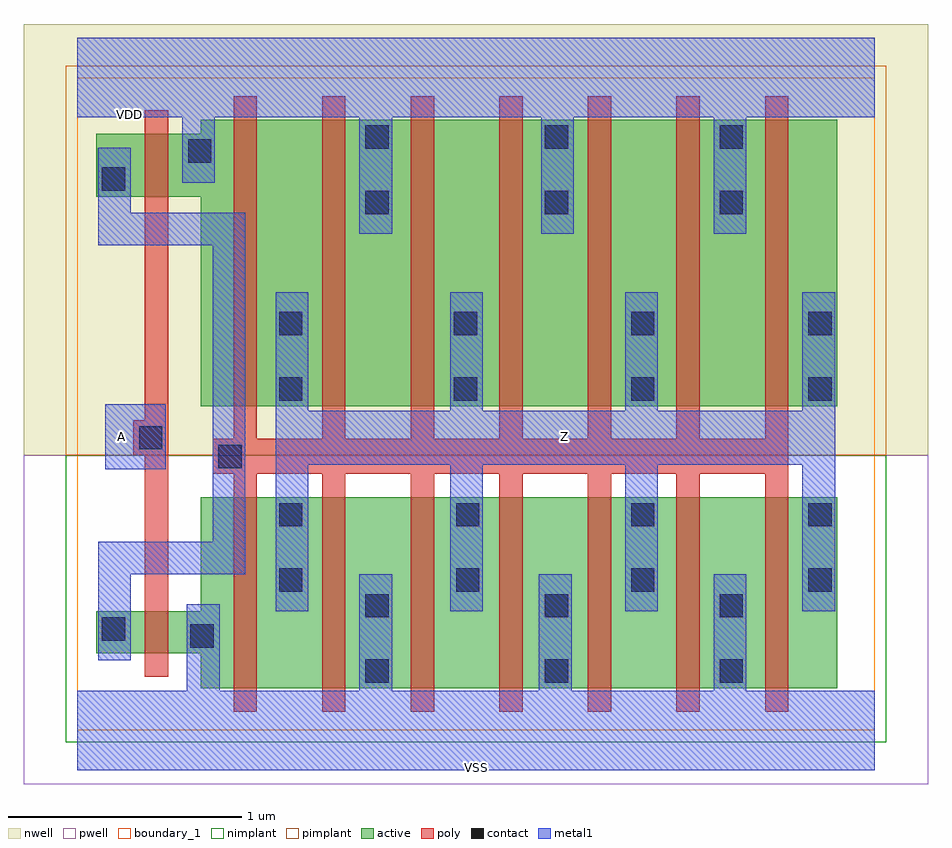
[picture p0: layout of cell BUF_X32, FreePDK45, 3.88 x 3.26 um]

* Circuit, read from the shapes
.subckt BUF_X32 A VDD VSS Z
M1 VSS A n1 VSUBS nfet w=0.18u l=0.1u
M2 Z n1 VSS VSUBS nfet w=0.82u l=0.1u m=7
M3 VDD A n1 n2 pfet w=0.27u l=0.1u
M4 Z n1 VDD n2 pfet w=1.23u l=0.1u m=7
.ends

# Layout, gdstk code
import gdstk
lib = gdstk.Library(unit=1e-6, precision=1e-09)
def R(c, l, rs):  # rectangles x0, y0, x1, y1
    for r in rs: c.add(gdstk.rectangle(r[:2], r[2:], *l))
def A(c, l, x, y, w, h, nx, ny, dx, dy):  # array of equal rectangles
    R(c, l, [(x+i*dx, y+j*dy, x+i*dx+w, y+j*dy+h) for i in range(nx) for j in range(ny)])
def P(c, l, *ps):  # polygons
    for p in ps: c.add(gdstk.Polygon(p, *l))
active = (1, 0)
pwell = (2, 0)
nwell = (3, 0)
nimplant = (4, 0)
pimplant = (5, 0)
poly = (9, 0)
contact = (10, 0)
metal1 = (11, 0)
boundary_1 = (235, 1)

buf_x32 = lib.new_cell('BUF_X32')
P(buf_x32, active, [(0.08,2.29),(0.53,2.29),(0.53,1.39),(3.26,1.39),(3.26,2.62),(0.53,2.62),(0.53,2.56),(0.08,2.56)],
  [(0.08,0.33),(0.53,0.33),(0.53,0.18),(3.26,0.18),(3.26,1),(0.53,1),(0.53,0.51),(0.08,0.51)])
R(buf_x32, pwell, [(-0.23,-0.23,3.65,1.18)])
R(buf_x32, nwell, [(-0.23,1.18,3.65,3.03)])
R(buf_x32, nimplant, [(-0.05,-0.05,3.47,1.18)])
R(buf_x32, pimplant, [(-0.05,1.18,3.47,2.85)])
P(buf_x32, poly, [(0.58,1.1),(0.67,1.1),(0.67,0.08),(0.77,0.08),(0.77,1.1),(1.05,1.1),(1.05,0.08),(1.15,0.08),(1.15,1.1),(1.43,1.1),(1.43,0.08),(1.53,0.08),(1.53,1.1),(1.81,1.1),(1.81,0.08),(1.91,0.08),(1.91,1.1),(2.19,1.1),(2.19,0.08),(2.29,0.08),(2.29,1.1),(2.57,1.1),(2.57,0.08),(2.67,0.08),(2.67,1.1),(2.95,1.1),(2.95,0.08),(3.05,0.08),(3.05,2.72),(2.95,2.72),(2.95,1.25),(2.67,1.25),(2.67,2.72),(2.57,2.72),(2.57,1.25),(2.29,1.25),(2.29,2.72),(2.19,2.72),(2.19,1.25),(1.91,1.25),(1.91,2.72),(1.81,2.72),(1.81,1.25),(1.53,1.25),(1.53,2.72),(1.43,2.72),(1.43,1.25),(1.15,1.25),(1.15,2.72),(1.05,2.72),(1.05,1.25),(0.77,1.25),(0.77,2.72),(0.67,2.72),(0.67,1.25),(0.58,1.25)],
  [(0.24,1.18),(0.29,1.18),(0.29,0.23),(0.39,0.23),(0.39,2.66),(0.29,2.66),(0.29,1.33),(0.24,1.33)])
A(buf_x32, contact, 1.615, 1.415, 0.1, 0.1, 3, 2, 0.76, 0.28)
R(buf_x32, contact, [(1.235,0.205,1.335,0.305), (2.005,0.205,2.105,0.305), (2.755,0.205,2.855,0.305), (0.485,0.355,0.585,0.455), (0.105,0.385,0.205,0.485), (1.235,0.485,1.335,0.585), (2.005,0.485,2.105,0.585), (2.755,0.485,2.855,0.585), (0.865,0.595,0.965,0.695), (1.625,0.595,1.725,0.695), (2.375,0.595,2.475,0.695), (3.135,0.595,3.235,0.695), (0.865,0.875,0.965,0.975), (1.625,0.875,1.725,0.975), (2.375,0.875,2.475,0.975), (3.135,0.875,3.235,0.975), (0.605,1.125,0.705,1.225), (0.265,1.205,0.365,1.305), (0.865,1.415,0.965,1.515), (0.865,1.695,0.965,1.795), (1.235,2.215,1.335,2.315), (2.005,2.215,2.105,2.315), (2.755,2.215,2.855,2.315), (0.105,2.315,0.205,2.415), (0.475,2.435,0.575,2.535), (1.235,2.495,1.335,2.595), (2.005,2.495,2.105,2.595), (2.755,2.495,2.855,2.595)])
R(buf_x32, metal1, [(0.12,1.12,0.38,1.4), (0.12,1.12,0.38,1.4)])
P(buf_x32, metal1, [(0,-0.17),(3.42,-0.17),(3.42,0.17),(2.87,0.17),(2.87,0.67),(2.73,0.67),(2.73,0.17),(2.12,0.17),(2.12,0.67),(1.98,0.67),(1.98,0.17),(1.35,0.17),(1.35,0.67),(1.21,0.67),(1.21,0.17),(0.61,0.17),(0.61,0.54),(0.47,0.54),(0.47,0.17),(0,0.17)],
  [(0,2.63),(0.45,2.63),(0.45,2.35),(0.59,2.35),(0.59,2.63),(1.21,2.63),(1.21,2.13),(1.35,2.13),(1.35,2.63),(1.99,2.63),(1.99,2.13),(2.13,2.13),(2.13,2.63),(2.73,2.63),(2.73,2.13),(2.87,2.13),(2.87,2.63),(3.42,2.63),(3.42,2.97),(0,2.97)],
  [(0.85,0.51),(0.99,0.51),(0.99,1.14),(1.6,1.14),(1.6,0.51),(1.74,0.51),(1.74,1.14),(2.35,1.14),(2.35,0.51),(2.49,0.51),(2.49,1.14),(3.11,1.14),(3.11,0.51),(3.25,0.51),(3.25,1.88),(3.11,1.88),(3.11,1.37),(2.49,1.37),(2.49,1.88),(2.35,1.88),(2.35,1.37),(1.74,1.37),(1.74,1.88),(1.6,1.88),(1.6,1.37),(0.99,1.37),(0.99,1.88),(0.85,1.88)],
  [(0,2.63),(0.45,2.63),(0.45,2.35),(0.59,2.35),(0.59,2.63),(1.21,2.63),(1.21,2.13),(1.35,2.13),(1.35,2.63),(1.99,2.63),(1.99,2.13),(2.13,2.13),(2.13,2.63),(2.73,2.63),(2.73,2.13),(2.87,2.13),(2.87,2.63),(3.42,2.63),(3.42,2.97),(0,2.97)],
  [(0,-0.17),(3.42,-0.17),(3.42,0.17),(2.87,0.17),(2.87,0.67),(2.73,0.67),(2.73,0.17),(2.12,0.17),(2.12,0.67),(1.98,0.67),(1.98,0.17),(1.35,0.17),(1.35,0.67),(1.21,0.67),(1.21,0.17),(0.61,0.17),(0.61,0.54),(0.47,0.54),(0.47,0.17),(0,0.17)],
  [(0.85,0.51),(0.99,0.51),(0.99,1.14),(1.6,1.14),(1.6,0.51),(1.74,0.51),(1.74,1.14),(2.35,1.14),(2.35,0.51),(2.49,0.51),(2.49,1.14),(3.11,1.14),(3.11,0.51),(3.25,0.51),(3.25,1.88),(3.11,1.88),(3.11,1.37),(2.49,1.37),(2.49,1.88),(2.35,1.88),(2.35,1.37),(1.74,1.37),(1.74,1.88),(1.6,1.88),(1.6,1.37),(0.99,1.37),(0.99,1.88),(0.85,1.88)],
  [(0.09,2.08),(0.58,2.08),(0.58,0.81),(0.09,0.81),(0.09,0.3),(0.23,0.3),(0.23,0.67),(0.72,0.67),(0.72,2.22),(0.23,2.22),(0.23,2.5),(0.09,2.5)])
R(buf_x32, boundary_1, [(0,0,3.42,2.8)])
buf_x32.add(gdstk.Label('Z', (2.09,1.26), layer=11, texttype=0))
buf_x32.add(gdstk.Label('VSS', (1.71,-0.16), layer=11, texttype=0))
buf_x32.add(gdstk.Label('VDD', (0.225,2.64), layer=11, texttype=0))
buf_x32.add(gdstk.Label('A', (0.19,1.26), layer=11, texttype=0))

lib.write_gds('BUF_X32.gds')
